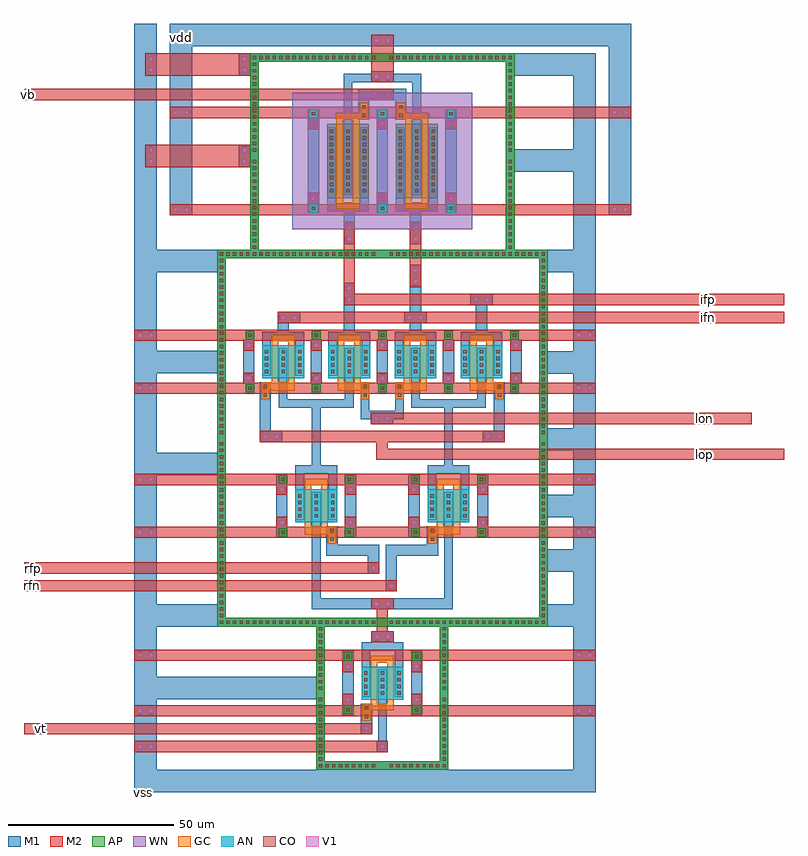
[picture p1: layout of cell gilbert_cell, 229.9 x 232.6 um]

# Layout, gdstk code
import gdstk
lib = gdstk.Library(unit=1e-6, precision=1e-09)
def R(c, l, rs):  # rectangles x0, y0, x1, y1
    for r in rs: c.add(gdstk.rectangle(r[:2], r[2:], *l))
def A(c, l, x, y, w, h, nx, ny, dx, dy):  # array of equal rectangles
    R(c, l, [(x+i*dx, y+j*dy, x+i*dx+w, y+j*dy+h) for i in range(nx) for j in range(ny)])
def P(c, l, *ps):  # polygons
    for p in ps: c.add(gdstk.Polygon(p, *l))
AP = (3, 1)
AN = (3, 2)
GC = (8, 1)
CO = (11, 0)
M1 = (13, 0)
V1 = (19, 0)
M2 = (20, 0)
WN = (140, 0)

via_1 = lib.new_cell('via_1')
R(via_1, M1, [(-1.7,-1.7,1.7,1.7)])
R(via_1, V1, [(-0.7,-0.7,0.7,0.7)])
R(via_1, M2, [(-1.7,-1.7,1.7,1.7)])

fet_p = lib.new_cell('fet_p')
R(fet_p, AP, [(-6.3,-11.3,6.3,11.3)])
A(fet_p, CO, -5.5, -9.5, 1, 1, 3, 10, 5, 2)
A(fet_p, M1, -6.3, -10.3, 2.6, 20.6, 3, 1, 5, 0)
fet_p.add(gdstk.FlexPath([(2.5,-12.5),(2.5,12.5)], 2, ends="flush", simple_path=True, layer=8, datatype=1))  # GC
fet_p.add(gdstk.FlexPath([(-2.5,-12.5),(-2.5,12.5)], 2, ends="flush", simple_path=True, layer=8, datatype=1))  # GC

cont_n = lib.new_cell('cont_n')
R(cont_n, AN, [(-1.3,-1.3,1.3,1.3)])
R(cont_n, CO, [(-0.5,-0.5,0.5,0.5)])
R(cont_n, M1, [(-1.3,-1.3,1.3,1.3)])

pfet45u2u = lib.new_cell('pfet45u2u')
R(pfet45u2u, WN, [(-16.8,-20.6,16.8,20.6)])
pfet45u2u.add(gdstk.FlexPath([(-10.4,-15.6),(-10.4,15.6)], 3.4, ends="flush", simple_path=True, layer=13, datatype=0))  # M1
pfet45u2u.add(gdstk.FlexPath([(10.4,-15.6),(10.4,15.6)], 3.4, ends="flush", simple_path=True, layer=13, datatype=0))  # M1
pfet45u2u.add(gdstk.FlexPath([(-3.5,13.5),(3.5,13.5)], 2, ends="flush", simple_path=True, layer=8, datatype=1))  # GC
pfet45u2u.add(gdstk.FlexPath([(-3.5,-13.5),(3.5,-13.5)], 2, ends="flush", simple_path=True, layer=8, datatype=1))  # GC
pfet45u2u.add(gdstk.FlexPath([(-12.1,14.7),(12.1,14.7)], 3.4, ends="flush", simple_path=True, layer=20, datatype=0))  # M2
pfet45u2u.add(gdstk.FlexPath([(-12.1,-14.7),(12.1,-14.7)], 3.4, ends="flush", simple_path=True, layer=20, datatype=0))  # M2
pfet45u2u.add(gdstk.Reference(via_1, (-10.4,11.3)))
pfet45u2u.add(gdstk.Reference(fet_p, (0,0)))
pfet45u2u.add(gdstk.Reference(cont_n, (-10.4,-14.3)))
pfet45u2u.add(gdstk.Reference(cont_n, (-10.4,14.3)))
pfet45u2u.add(gdstk.Reference(cont_n, (10.4,-14.3)))
pfet45u2u.add(gdstk.Reference(cont_n, (10.4,14.3)))
pfet45u2u.add(gdstk.Reference(via_1, (-10.4,-11.3)))
pfet45u2u.add(gdstk.Reference(via_1, (10.4,-11.3)))
pfet45u2u.add(gdstk.Reference(via_1, (10.4,11.3)))

cont_p = lib.new_cell('cont_p')
R(cont_p, AP, [(-1.3,-1.3,1.3,1.3)])
R(cont_p, CO, [(-0.5,-0.5,0.5,0.5)])
R(cont_p, M1, [(-1.3,-1.3,1.3,1.3)])

fet_n = lib.new_cell('fet_n')
R(fet_n, AN, [(-6.3,-5,6.3,5)])
A(fet_n, CO, -5.5, -3.5, 1, 1, 3, 4, 5, 2)
A(fet_n, M1, -6.3, -4.3, 2.6, 8.6, 3, 1, 5, 0)
fet_n.add(gdstk.FlexPath([(2.5,-6.2),(2.5,6.2)], 2, ends="flush", simple_path=True, layer=8, datatype=1))  # GC
fet_n.add(gdstk.FlexPath([(-2.5,-6.2),(-2.5,6.2)], 2, ends="flush", simple_path=True, layer=8, datatype=1))  # GC

nfet20u2u = lib.new_cell('nfet20u2u')
nfet20u2u.add(gdstk.FlexPath([(10.4,9.7),(10.4,-9.7)], 3.4, ends="flush", simple_path=True, layer=13, datatype=0))  # M1
nfet20u2u.add(gdstk.FlexPath([(-10.4,9.7),(-10.4,-9.7)], 3.4, ends="flush", simple_path=True, layer=13, datatype=0))  # M1
nfet20u2u.add(gdstk.FlexPath([(-3.5,-7.2),(3.5,-7.2)], 2, ends="flush", simple_path=True, layer=8, datatype=1))  # GC
nfet20u2u.add(gdstk.FlexPath([(-3.5,7.2),(3.5,7.2),(3.5,7.2),(3.5,7.2)], 2, ends="flush", simple_path=True, layer=8, datatype=1))  # GC
nfet20u2u.add(gdstk.FlexPath([(-12.1,8.4),(12.1,8.4)], 3.4, ends="flush", simple_path=True, layer=20, datatype=0))  # M2
nfet20u2u.add(gdstk.FlexPath([(-12.1,-8.4),(12.1,-8.4)], 3.4, ends="flush", simple_path=True, layer=20, datatype=0))  # M2
nfet20u2u.add(gdstk.Reference(via_1, (10.4,5)))
nfet20u2u.add(gdstk.Reference(via_1, (10.4,-5)))
nfet20u2u.add(gdstk.Reference(via_1, (-10.4,-5)))
nfet20u2u.add(gdstk.Reference(via_1, (-10.4,5)))
nfet20u2u.add(gdstk.Reference(cont_p, (-10.4,-8)))
nfet20u2u.add(gdstk.Reference(cont_p, (10.4,-8)))
nfet20u2u.add(gdstk.Reference(cont_p, (-10.4,8)))
nfet20u2u.add(gdstk.Reference(cont_p, (10.4,8)))
nfet20u2u.add(gdstk.Reference(fet_n, (0,0)))

cont_p_1 = lib.new_cell('cont_p$1')
P(cont_p_1, AP, [(-40,-31),(-40,28.4),(-37.4,28.4),(-37.4,-28.4),(37.4,-28.4),(37.4,28.4),(-40,28.4),(-40,31),(40,31),(40,-31)])
A(cont_p_1, CO, -39.2, -30.2, 1, 1, 1, 15, 0, 2)
A(cont_p_1, CO, -39.2, -30.2, 1, 1, 19, 2, 2, 59.4)
A(cont_p_1, CO, 2.2, -30.2, 1, 1, 19, 2, 2, 59.4)
A(cont_p_1, CO, 38.2, -30.2, 1, 1, 1, 15, 0, 2)
A(cont_p_1, CO, -39.2, 1.2, 1, 1, 1, 15, 0, 2)
A(cont_p_1, CO, 38.2, 1.2, 1, 1, 1, 15, 0, 2)
P(cont_p_1, M1, [(-40,-31),(-40,28.4),(-37.4,28.4),(-37.4,-28.4),(37.4,-28.4),(37.4,28.4),(-40,28.4),(-40,31),(40,31),(40,-31)])

cont_p_2 = lib.new_cell('cont_p$2')
P(cont_p_2, AP, [(-50,-57),(-50,54.4),(-47.4,54.4),(-47.4,-54.4),(47.4,-54.4),(47.4,54.4),(-50,54.4),(-50,57),(50,57),(50,-57)])
A(cont_p_2, CO, -49.2, -56.2, 1, 1, 1, 28, 0, 2)
A(cont_p_2, CO, -49.2, -56.2, 1, 1, 24, 2, 2, 111.4)
A(cont_p_2, CO, 2.2, -56.2, 1, 1, 24, 2, 2, 111.4)
A(cont_p_2, CO, 48.2, -56.2, 1, 1, 1, 28, 0, 2)
A(cont_p_2, CO, -49.2, 1.2, 1, 1, 1, 28, 0, 2)
A(cont_p_2, CO, 48.2, 1.2, 1, 1, 1, 28, 0, 2)
P(cont_p_2, M1, [(-50,-57),(-50,54.4),(-47.4,54.4),(-47.4,-54.4),(47.4,-54.4),(47.4,54.4),(-50,54.4),(-50,57),(50,57),(50,-57)])

cont_p_4 = lib.new_cell('cont_p$4')
P(cont_p_4, AP, [(-20,-23),(-20,20.4),(-17.4,20.4),(-17.4,-20.4),(17.4,-20.4),(17.4,20.4),(-20,20.4),(-20,23),(20,23),(20,-23)])
A(cont_p_4, CO, -19.2, -22.2, 1, 1, 1, 11, 0, 2)
A(cont_p_4, CO, -19.2, -22.2, 1, 1, 9, 2, 2, 43.4)
A(cont_p_4, CO, 2.2, -22.2, 1, 1, 9, 2, 2, 43.4)
A(cont_p_4, CO, 18.2, -22.2, 1, 1, 1, 11, 0, 2)
A(cont_p_4, CO, -19.2, 1.2, 1, 1, 1, 11, 0, 2)
A(cont_p_4, CO, 18.2, 1.2, 1, 1, 1, 11, 0, 2)
P(cont_p_4, M1, [(-20,-23),(-20,20.4),(-17.4,20.4),(-17.4,-20.4),(17.4,-20.4),(17.4,20.4),(-20,20.4),(-20,23),(20,23),(20,-23)])

cont_g = lib.new_cell('cont_g')
R(cont_g, GC, [(-1.3,-1.3,1.3,1.3)])
R(cont_g, CO, [(-0.5,-0.5,0.5,0.5)])
R(cont_g, M1, [(-1.3,-1.3,1.3,1.3)])

cont_g_1 = lib.new_cell('cont_g$1')
R(cont_g_1, GC, [(-1.3,-1.3,1.3,1.3)])
R(cont_g_1, CO, [(-0.5,-0.5,0.5,0.5)])
R(cont_g_1, M1, [(-1.3,-1.3,1.3,1.3)])

gilbert_cell = lib.new_cell('gilbert_cell')
gilbert_cell.add(gdstk.FlexPath([(-841.7,1322.6),(-841.7,1326.1)], 3.4, ends="flush", simple_path=True, layer=13, datatype=0))  # M1
gilbert_cell.add(gdstk.FlexPath([(-892.6,1328.5),(-892.6,1383.1)], 6.8, ends="flush", simple_path=True, layer=13, datatype=0))  # M1
gilbert_cell.add(gdstk.FlexPath([(-842.1,1351.8),(-842.1,1366.6),(-821.3,1366.6),(-821.3,1351.8)], 2.6, ends="flush", simple_path=True, layer=13, datatype=0))  # M1
gilbert_cell.add(gdstk.FlexPath([(-837.3,1354),(-837.3,1361.6),(-826.1,1361.6),(-826.1,1354)], 3.4, ends="flush", simple_path=True, layer=13, datatype=0))  # M1
gilbert_cell.add(gdstk.FlexPath([(-847.1,1331.2),(-847.1,1327.4),(-837.1,1327.4),(-837.1,1331.2),(-837.1,1331.2),(-837.1,1331.2)], 2.6, ends="flush", simple_path=True, layer=13, datatype=0))  # M1
gilbert_cell.add(gdstk.FlexPath([(-826.3,1331.2),(-826.3,1327.4),(-816.3,1327.4),(-816.3,1331.2)], 2.6, ends="flush", simple_path=True, layer=13, datatype=0))  # M1
gilbert_cell.add(gdstk.FlexPath([(-821.7,1295.9),(-821.7,1303.3)], 3.4, ends="flush", simple_path=True, layer=13, datatype=0))  # M1
gilbert_cell.add(gdstk.FlexPath([(-821.7,1323.1),(-821.7,1326.1)], 3.4, ends="flush", simple_path=True, layer=13, datatype=0))  # M1
gilbert_cell.add(gdstk.FlexPath([(-851.7,1232.9),(-851.7,1205.9)], 2.6, ends="flush", simple_path=True, layer=13, datatype=0))  # M1
gilbert_cell.add(gdstk.FlexPath([(-835.1,1207.6),(-850.4,1207.6)], 3.4, ends="flush", simple_path=True, layer=13, datatype=0))  # M1
gilbert_cell.add(gdstk.FlexPath([(-811.7,1232.9),(-811.7,1205.9)], 2.6, ends="flush", simple_path=True, layer=13, datatype=0))  # M1
gilbert_cell.add(gdstk.FlexPath([(-828.3,1207.6),(-813,1207.6)], 3.4, ends="flush", simple_path=True, layer=13, datatype=0))  # M1
gilbert_cell.add(gdstk.FlexPath([(-903.4,1287.1),(-903.4,1150.5)], 6.8, ends="flush", simple_path=True, layer=13, datatype=0))  # M1
gilbert_cell.add(gdstk.FlexPath([(-831.7,1166.1),(-831.7,1179.3)], 2.6, ends="flush", simple_path=True, layer=13, datatype=0))  # M1
gilbert_cell.add(gdstk.FlexPath([(-836.5,1171.5),(-836.5,1177.4)], 3.4, ends="flush", simple_path=True, layer=13, datatype=0))  # M1
gilbert_cell.add(gdstk.FlexPath([(-836.7,1187.9),(-836.7,1194.6),(-826.7,1194.6),(-826.7,1187.9)], 2.6, ends="flush", simple_path=True, layer=13, datatype=0))  # M1
gilbert_cell.add(gdstk.FlexPath([(-759.8,1328.5),(-759.8,1379.7),(-889.2,1379.7)], 6.8, ends="flush", simple_path=True, layer=13, datatype=0))  # M1
gilbert_cell.add(gdstk.FlexPath([(-770.6,1367.6),(-770.6,1370.7),(-791.7,1370.7)], 6.8, ends="flush", simple_path=True, layer=13, datatype=0))  # M1
gilbert_cell.add(gdstk.FlexPath([(-774,1341.7),(-791.7,1341.7)], 6.8, ends="flush", simple_path=True, layer=13, datatype=0))  # M1
gilbert_cell.add(gdstk.FlexPath([(-774,1311.3),(-781.7,1311.3)], 6.8, ends="flush", simple_path=True, layer=13, datatype=0))  # M1
gilbert_cell.add(gdstk.FlexPath([(-774,1280.6),(-781.7,1280.6)], 6.8, ends="flush", simple_path=True, layer=13, datatype=0))  # M1
gilbert_cell.add(gdstk.FlexPath([(-774,1257.3),(-781.7,1257.3)], 6.8, ends="flush", simple_path=True, layer=13, datatype=0))  # M1
gilbert_cell.add(gdstk.FlexPath([(-774,1220.7),(-781.7,1220.7)], 6.8, ends="flush", simple_path=True, layer=13, datatype=0))  # M1
gilbert_cell.add(gdstk.FlexPath([(-774,1204.1),(-781.7,1204.1)], 6.8, ends="flush", simple_path=True, layer=13, datatype=0))  # M1
gilbert_cell.add(gdstk.FlexPath([(-903.4,1360.6),(-903.4,1383)], 6.8, ends="flush", simple_path=True, layer=13, datatype=0))  # M1
gilbert_cell.add(gdstk.FlexPath([(-774,1153.9),(-900,1153.9)], 6.8, ends="flush", simple_path=True, layer=13, datatype=0))  # M1
gilbert_cell.add(gdstk.FlexPath([(-774,1237.2),(-781.7,1237.2)], 6.8, ends="flush", simple_path=True, layer=13, datatype=0))  # M1
gilbert_cell.add(gdstk.FlexPath([(-900,1311.3),(-881.7,1311.3)], 6.8, ends="flush", simple_path=True, layer=13, datatype=0))  # M1
gilbert_cell.add(gdstk.FlexPath([(-900,1280.7),(-881.7,1280.7)], 6.8, ends="flush", simple_path=True, layer=13, datatype=0))  # M1
gilbert_cell.add(gdstk.FlexPath([(-900,1249.8),(-881.7,1249.8)], 6.8, ends="flush", simple_path=True, layer=13, datatype=0))  # M1
gilbert_cell.add(gdstk.FlexPath([(-900,1204.1),(-881.7,1204.1)], 6.8, ends="flush", simple_path=True, layer=13, datatype=0))  # M1
gilbert_cell.add(gdstk.FlexPath([(-900,1182.1),(-851.7,1182.1)], 6.8, ends="flush", simple_path=True, layer=13, datatype=0))  # M1
gilbert_cell.add(gdstk.FlexPath([(-770.6,1367.6),(-770.6,1150.5)], 6.8, ends="flush", simple_path=True, layer=13, datatype=0))  # M1
gilbert_cell.add(gdstk.FlexPath([(-829,1214.7),(-829,1225.5)], 3.4, ends="flush", simple_path=True, layer=13, datatype=0))  # M1
gilbert_cell.add(gdstk.FlexPath([(-801.7,1297.9),(-801.7,1289.9)], 3.4, ends="flush", simple_path=True, layer=13, datatype=0))  # M1
gilbert_cell.add(gdstk.FlexPath([(-841.7,1297.9),(-841.7,1289.9)], 3.4, ends="flush", simple_path=True, layer=13, datatype=0))  # M1
gilbert_cell.add(gdstk.FlexPath([(-811.7,1247.9),(-811.7,1266.9)], 2.6, ends="flush", simple_path=True, layer=13, datatype=0))  # M1
gilbert_cell.add(gdstk.FlexPath([(-821.7,1276.5),(-821.7,1268.2),(-801.7,1268.2),(-801.7,1276.5)], 2.6, ends="flush", simple_path=True, layer=13, datatype=0))  # M1
gilbert_cell.add(gdstk.FlexPath([(-861.7,1276.5),(-861.7,1268.2),(-841.7,1268.2),(-841.7,1276.5),(-841.7,1276.5)], 2.6, ends="flush", simple_path=True, layer=13, datatype=0))  # M1
gilbert_cell.add(gdstk.FlexPath([(-851.7,1247.9),(-851.7,1266.9)], 2.6, ends="flush", simple_path=True, layer=13, datatype=0))  # M1
gilbert_cell.add(gdstk.FlexPath([(-796.3,1259.9),(-796.3,1274.6)], 3.4, ends="flush", simple_path=True, layer=13, datatype=0))  # M1
gilbert_cell.add(gdstk.FlexPath([(-867.1,1259.9),(-867.1,1274.6),(-867.1,1274.6)], 3.4, ends="flush", simple_path=True, layer=13, datatype=0))  # M1
gilbert_cell.add(gdstk.FlexPath([(-801.3,1246.9),(-801.3,1227.5)], 3.4, ends="flush", simple_path=True, layer=13, datatype=0))  # M1
gilbert_cell.add(gdstk.FlexPath([(-822.1,1246.9),(-822.1,1227.5)], 3.4, ends="flush", simple_path=True, layer=13, datatype=0))  # M1
gilbert_cell.add(gdstk.FlexPath([(-841.3,1246.9),(-841.3,1227.5)], 3.4, ends="flush", simple_path=True, layer=13, datatype=0))  # M1
gilbert_cell.add(gdstk.FlexPath([(-856.7,1241.5),(-856.7,1248.2),(-846.7,1248.2),(-846.7,1241.5)], 2.6, ends="flush", simple_path=True, layer=13, datatype=0))  # M1
gilbert_cell.add(gdstk.FlexPath([(-862.1,1246.9),(-862.1,1227.5)], 3.4, ends="flush", simple_path=True, layer=13, datatype=0))  # M1
gilbert_cell.add(gdstk.FlexPath([(-846.9,1222.1),(-846.9,1231)], 3.4, ends="flush", simple_path=True, layer=13, datatype=0))  # M1
gilbert_cell.add(gdstk.FlexPath([(-816.7,1241.5),(-816.7,1248.2),(-806.7,1248.2),(-806.7,1241.5)], 2.6, ends="flush", simple_path=True, layer=13, datatype=0))  # M1
gilbert_cell.add(gdstk.FlexPath([(-848.6,1223.8),(-832.7,1223.8)], 3.4, ends="flush", simple_path=True, layer=13, datatype=0))  # M1
gilbert_cell.add(gdstk.FlexPath([(-830.7,1223.8),(-814.8,1223.8)], 3.4, ends="flush", simple_path=True, layer=13, datatype=0))  # M1
gilbert_cell.add(gdstk.FlexPath([(-834.4,1225.5),(-834.4,1216.7)], 3.4, ends="flush", simple_path=True, layer=13, datatype=0))  # M1
gilbert_cell.add(gdstk.FlexPath([(-816.5,1222.1),(-816.5,1231)], 3.4, ends="flush", simple_path=True, layer=13, datatype=0))  # M1
gilbert_cell.add(gdstk.FlexPath([(-821.7,1295.7),(-821.7,1289.9)], 3.4, ends="flush", simple_path=True, layer=13, datatype=0))  # M1
gilbert_cell.add(gdstk.FlexPath([(-861.7,1295.7),(-861.7,1289.9)], 3.4, ends="flush", simple_path=True, layer=13, datatype=0))  # M1
gilbert_cell.add(gdstk.FlexPath([(-836.9,1269.4),(-836.9,1264.7),(-826.5,1264.7),(-826.5,1269.4)], 2.6, ends="flush", simple_path=True, layer=13, datatype=0))  # M1
gilbert_cell.add(gdstk.FlexPath([(-846.7,1285.1),(-846.7,1288.6),(-836.7,1288.6),(-836.7,1285.1)], 2.6, ends="flush", simple_path=True, layer=13, datatype=0))  # M1
gilbert_cell.add(gdstk.FlexPath([(-806.7,1285.1),(-806.7,1288.6),(-796.7,1288.6),(-796.7,1285.1)], 2.6, ends="flush", simple_path=True, layer=13, datatype=0))  # M1
gilbert_cell.add(gdstk.FlexPath([(-826.7,1285.1),(-826.7,1288.6),(-816.7,1288.6),(-816.7,1285.1)], 2.6, ends="flush", simple_path=True, layer=13, datatype=0))  # M1
gilbert_cell.add(gdstk.FlexPath([(-866.7,1285.1),(-866.7,1288.6),(-856.7,1288.6),(-856.7,1285.1)], 2.6, ends="flush", simple_path=True, layer=13, datatype=0))  # M1
gilbert_cell.add(gdstk.FlexPath([(-872.1,1277.5),(-872.1,1284.1)], 3.4, ends="flush", simple_path=True, layer=13, datatype=0))  # M1
gilbert_cell.add(gdstk.FlexPath([(-791.3,1277.5),(-791.3,1284.1)], 3.4, ends="flush", simple_path=True, layer=13, datatype=0))  # M1
gilbert_cell.add(gdstk.FlexPath([(-811.7,1277.5),(-811.7,1284.1)], 3.4, ends="flush", simple_path=True, layer=13, datatype=0))  # M1
gilbert_cell.add(gdstk.FlexPath([(-831.7,1277.5),(-831.7,1284.1)], 3.4, ends="flush", simple_path=True, layer=13, datatype=0))  # M1
gilbert_cell.add(gdstk.FlexPath([(-851.7,1277.5),(-851.7,1284.1)], 3.4, ends="flush", simple_path=True, layer=13, datatype=0))  # M1
gilbert_cell.add(gdstk.FlexPath([(-903.4,1290.5),(-903.4,1360.6)], 6.8, ends="flush", simple_path=True, layer=13, datatype=0))  # M1
gilbert_cell.add(gdstk.FlexPath([(-815.2,1229.7),(-808.2,1229.7)], 2.6, ends="flush", simple_path=True, layer=8, datatype=1))  # GC
gilbert_cell.add(gdstk.FlexPath([(-815.2,1244.4),(-808.2,1244.4)], 2, ends="flush", simple_path=True, layer=8, datatype=1))  # GC
gilbert_cell.add(gdstk.FlexPath([(-855.2,1244.4),(-848.2,1244.4)], 2, ends="flush", simple_path=True, layer=8, datatype=1))  # GC
gilbert_cell.add(gdstk.FlexPath([(-848.2,1229.7),(-855.2,1229.7)], 2.6, ends="flush", simple_path=True, layer=8, datatype=1))  # GC
gilbert_cell.add(gdstk.FlexPath([(-825.2,1288),(-818.2,1288)], 2, ends="flush", simple_path=True, layer=8, datatype=1))  # GC
gilbert_cell.add(gdstk.FlexPath([(-805.2,1288),(-798.2,1288)], 2, ends="flush", simple_path=True, layer=8, datatype=1))  # GC
gilbert_cell.add(gdstk.FlexPath([(-797.6,1273.3),(-805.2,1273.3)], 2.6, ends="flush", simple_path=True, layer=8, datatype=1))  # GC
gilbert_cell.add(gdstk.FlexPath([(-838.2,1273.3),(-845.2,1273.3)], 2.6, ends="flush", simple_path=True, layer=8, datatype=1))  # GC
gilbert_cell.add(gdstk.FlexPath([(-825.2,1273.3),(-818.2,1273.3)], 2.6, ends="flush", simple_path=True, layer=8, datatype=1))  # GC
gilbert_cell.add(gdstk.FlexPath([(-865.8,1273.3),(-858.2,1273.3)], 2.6, ends="flush", simple_path=True, layer=8, datatype=1))  # GC
gilbert_cell.add(gdstk.FlexPath([(-845.2,1288),(-838.2,1288)], 2, ends="flush", simple_path=True, layer=8, datatype=1))  # GC
gilbert_cell.add(gdstk.FlexPath([(-865.2,1288),(-858.2,1288)], 2, ends="flush", simple_path=True, layer=8, datatype=1))  # GC
gilbert_cell.add(gdstk.FlexPath([(-840,1299.6),(-805.1,1299.6)], 3.4, ends="flush", simple_path=True, layer=20, datatype=0))  # M2
gilbert_cell.add(gdstk.FlexPath([(-841.7,1304.7),(-841.7,1316.3)], 3.4, ends="flush", simple_path=True, layer=20, datatype=0))  # M2
gilbert_cell.add(gdstk.FlexPath([(-888.8,1361.6),(-939.9,1361.6)], 3.4, ends="flush", simple_path=True, layer=20, datatype=0))  # M2
gilbert_cell.add(gdstk.FlexPath([(-809.2,1356.2),(-763.2,1356.2)], 3.4, ends="flush", simple_path=True, layer=20, datatype=0))  # M2
gilbert_cell.add(gdstk.FlexPath([(-809.2,1326.8),(-763.2,1326.8)], 3.4, ends="flush", simple_path=True, layer=20, datatype=0))  # M2
gilbert_cell.add(gdstk.FlexPath([(-879.2,1326.8),(-889.2,1326.8)], 3.4, ends="flush", simple_path=True, layer=20, datatype=0))  # M2
gilbert_cell.add(gdstk.FlexPath([(-879.2,1356.2),(-889.2,1356.2)], 3.4, ends="flush", simple_path=True, layer=20, datatype=0))  # M2
gilbert_cell.add(gdstk.FlexPath([(-878.8,1361.6),(-888.8,1361.6)], 3.4, ends="flush", simple_path=True, layer=20, datatype=0))  # M2
gilbert_cell.add(gdstk.FlexPath([(-831.7,1368.7),(-831.7,1376.3)], 6.8, ends="flush", simple_path=True, layer=20, datatype=0))  # M2
gilbert_cell.add(gdstk.FlexPath([(-900,1343.1),(-875.1,1343.1)], 6.8, ends="flush", simple_path=True, layer=20, datatype=0))  # M2
gilbert_cell.add(gdstk.FlexPath([(-879.2,1326.8),(-854.2,1326.8)], 3.4, ends="flush", simple_path=True, layer=20, datatype=0))  # M2
gilbert_cell.add(gdstk.FlexPath([(-879.2,1356.2),(-854.2,1356.2)], 3.4, ends="flush", simple_path=True, layer=20, datatype=0))  # M2
gilbert_cell.add(gdstk.FlexPath([(-835.1,1361.6),(-878.8,1361.6)], 3.4, ends="flush", simple_path=True, layer=20, datatype=0))  # M2
gilbert_cell.add(gdstk.FlexPath([(-821.7,1310.1),(-821.7,1316.3)], 3.4, ends="flush", simple_path=True, layer=20, datatype=0))  # M2
gilbert_cell.add(gdstk.FlexPath([(-900,1192),(-890,1192)], 3.4, ends="flush", simple_path=True, layer=20, datatype=0))  # M2
gilbert_cell.add(gdstk.FlexPath([(-900,1175.2),(-890,1175.2)], 3.4, ends="flush", simple_path=True, layer=20, datatype=0))  # M2
gilbert_cell.add(gdstk.FlexPath([(-777.2,1175.2),(-774,1175.2)], 3.4, ends="flush", simple_path=True, layer=20, datatype=0))  # M2
gilbert_cell.add(gdstk.FlexPath([(-777.2,1192),(-774,1192)], 3.4, ends="flush", simple_path=True, layer=20, datatype=0))  # M2
gilbert_cell.add(gdstk.FlexPath([(-843.8,1192),(-890,1192)], 3.4, ends="flush", simple_path=True, layer=20, datatype=0))  # M2
gilbert_cell.add(gdstk.FlexPath([(-843.8,1175.2),(-890,1175.2)], 3.4, ends="flush", simple_path=True, layer=20, datatype=0))  # M2
gilbert_cell.add(gdstk.FlexPath([(-819.6,1175.2),(-777.2,1175.2)], 3.4, ends="flush", simple_path=True, layer=20, datatype=0))  # M2
gilbert_cell.add(gdstk.FlexPath([(-819.6,1192),(-777.2,1192)], 3.4, ends="flush", simple_path=True, layer=20, datatype=0))  # M2
gilbert_cell.add(gdstk.FlexPath([(-831.7,1199.3),(-831.7,1206.7)], 3.4, ends="flush", simple_path=True, layer=20, datatype=0))  # M2
gilbert_cell.add(gdstk.FlexPath([(-899.9,1169.8),(-916.1,1169.8)], 3.4, ends="flush", simple_path=True, layer=20, datatype=0))  # M2
gilbert_cell.add(gdstk.FlexPath([(-916.1,1169.8),(-940,1169.8)], 3.4, ends="flush", simple_path=True, layer=20, datatype=0))  # M2
gilbert_cell.add(gdstk.FlexPath([(-838.2,1169.8),(-889.9,1169.8)], 3.4, ends="flush", simple_path=True, layer=20, datatype=0))  # M2
gilbert_cell.add(gdstk.FlexPath([(-833.4,1164.4),(-890,1164.4)], 3.4, ends="flush", simple_path=True, layer=20, datatype=0))  # M2
gilbert_cell.add(gdstk.FlexPath([(-900,1164.4),(-890,1164.4)], 3.4, ends="flush", simple_path=True, layer=20, datatype=0))  # M2
gilbert_cell.add(gdstk.FlexPath([(-899.9,1169.8),(-889.9,1169.8)], 3.4, ends="flush", simple_path=True, layer=20, datatype=0))  # M2
gilbert_cell.add(gdstk.FlexPath([(-900,1370.7),(-875.1,1370.7)], 6.8, ends="flush", simple_path=True, layer=20, datatype=0))  # M2
gilbert_cell.add(gdstk.FlexPath([(-900,1218.4),(-940.1,1218.4)], 3.4, ends="flush", simple_path=True, layer=20, datatype=0))  # M2
gilbert_cell.add(gdstk.FlexPath([(-900.1,1213),(-940,1213)], 3.4, ends="flush", simple_path=True, layer=20, datatype=0))  # M2
gilbert_cell.add(gdstk.FlexPath([(-771.9,1299.6),(-710.2,1299.6)], 3.4, ends="flush", simple_path=True, layer=20, datatype=0))  # M2
gilbert_cell.add(gdstk.FlexPath([(-771.9,1294.2),(-710.2,1294.2)], 3.4, ends="flush", simple_path=True, layer=20, datatype=0))  # M2
gilbert_cell.add(gdstk.FlexPath([(-786.8,1263.6),(-720,1263.6)], 3.4, ends="flush", simple_path=True, layer=20, datatype=0))  # M2
gilbert_cell.add(gdstk.FlexPath([(-774,1252.8),(-710.2,1252.8)], 3.4, ends="flush", simple_path=True, layer=20, datatype=0))  # M2
gilbert_cell.add(gdstk.FlexPath([(-772,1288.8),(-767.2,1288.8)], 3.4, ends="flush", simple_path=True, layer=20, datatype=0))  # M2
gilbert_cell.add(gdstk.FlexPath([(-775,1245.2),(-767.2,1245.2)], 3.4, ends="flush", simple_path=True, layer=20, datatype=0))  # M2
gilbert_cell.add(gdstk.FlexPath([(-775,1229.2),(-767.2,1229.2)], 3.4, ends="flush", simple_path=True, layer=20, datatype=0))  # M2
gilbert_cell.add(gdstk.FlexPath([(-890,1272.8),(-782,1272.8)], 3.4, ends="flush", simple_path=True, layer=20, datatype=0))  # M2
gilbert_cell.add(gdstk.FlexPath([(-890,1288.8),(-782,1288.8)], 3.4, ends="flush", simple_path=True, layer=20, datatype=0))  # M2
gilbert_cell.add(gdstk.FlexPath([(-820,1294.2),(-781.9,1294.2)], 3.4, ends="flush", simple_path=True, layer=20, datatype=0))  # M2
gilbert_cell.add(gdstk.FlexPath([(-825.1,1294.2),(-856.6,1294.2)], 3.4, ends="flush", simple_path=True, layer=20, datatype=0))  # M2
gilbert_cell.add(gdstk.FlexPath([(-798.3,1299.6),(-781.9,1299.6)], 3.4, ends="flush", simple_path=True, layer=20, datatype=0))  # M2
gilbert_cell.add(gdstk.FlexPath([(-830.1,1263.6),(-786.8,1263.6)], 3.4, ends="flush", simple_path=True, layer=20, datatype=0))  # M2
gilbert_cell.add(gdstk.FlexPath([(-862,1258.2),(-801.4,1258.2)], 3.4, ends="flush", simple_path=True, layer=20, datatype=0))  # M2
gilbert_cell.add(gdstk.FlexPath([(-828.4,1252.8),(-784,1252.8)], 3.4, ends="flush", simple_path=True, layer=20, datatype=0))  # M2
gilbert_cell.add(gdstk.FlexPath([(-831.8,1256.5),(-831.8,1252.8),(-828.4,1252.8)], 3.4, ends="flush", simple_path=True, layer=20, datatype=0))  # M2
gilbert_cell.add(gdstk.FlexPath([(-890,1229.2),(-785,1229.2)], 3.4, ends="flush", simple_path=True, layer=20, datatype=0))  # M2
gilbert_cell.add(gdstk.FlexPath([(-890,1245.2),(-785,1245.2)], 3.4, ends="flush", simple_path=True, layer=20, datatype=0))  # M2
gilbert_cell.add(gdstk.FlexPath([(-836.1,1218.4),(-890,1218.4)], 3.4, ends="flush", simple_path=True, layer=20, datatype=0))  # M2
gilbert_cell.add(gdstk.FlexPath([(-830.7,1213),(-890.1,1213)], 3.4, ends="flush", simple_path=True, layer=20, datatype=0))  # M2
gilbert_cell.add(gdstk.FlexPath([(-781.9,1299.6),(-771.9,1299.6)], 3.4, ends="flush", simple_path=True, layer=20, datatype=0))  # M2
gilbert_cell.add(gdstk.FlexPath([(-781.9,1294.2),(-771.9,1294.2)], 3.4, ends="flush", simple_path=True, layer=20, datatype=0))  # M2
gilbert_cell.add(gdstk.FlexPath([(-782,1288.8),(-774,1288.8)], 3.4, ends="flush", simple_path=True, layer=20, datatype=0))  # M2
gilbert_cell.add(gdstk.FlexPath([(-782,1272.8),(-774,1272.8)], 3.4, ends="flush", simple_path=True, layer=20, datatype=0))  # M2
gilbert_cell.add(gdstk.FlexPath([(-784,1252.8),(-774,1252.8)], 3.4, ends="flush", simple_path=True, layer=20, datatype=0))  # M2
gilbert_cell.add(gdstk.FlexPath([(-785,1245.2),(-775,1245.2)], 3.4, ends="flush", simple_path=True, layer=20, datatype=0))  # M2
gilbert_cell.add(gdstk.FlexPath([(-785,1229.2),(-775,1229.2)], 3.4, ends="flush", simple_path=True, layer=20, datatype=0))  # M2
gilbert_cell.add(gdstk.FlexPath([(-900.1,1213),(-890.1,1213)], 3.4, ends="flush", simple_path=True, layer=20, datatype=0))  # M2
gilbert_cell.add(gdstk.FlexPath([(-900,1218.4),(-890,1218.4)], 3.4, ends="flush", simple_path=True, layer=20, datatype=0))  # M2
gilbert_cell.add(gdstk.FlexPath([(-900,1229.2),(-890,1229.2)], 3.4, ends="flush", simple_path=True, layer=20, datatype=0))  # M2
gilbert_cell.add(gdstk.FlexPath([(-900,1245.2),(-890,1245.2)], 3.4, ends="flush", simple_path=True, layer=20, datatype=0))  # M2
gilbert_cell.add(gdstk.FlexPath([(-900,1272.8),(-890,1272.8)], 3.4, ends="flush", simple_path=True, layer=20, datatype=0))  # M2
gilbert_cell.add(gdstk.FlexPath([(-900,1288.8),(-890,1288.8)], 3.4, ends="flush", simple_path=True, layer=20, datatype=0))  # M2
gilbert_cell.add(gdstk.Reference(pfet45u2u, (-821.3,1341.5)))
gilbert_cell.add(gdstk.Reference(via_1, (-830.1,1263.6)))
gilbert_cell.add(gdstk.Reference(cont_p, (-831.7,1288.8)))
gilbert_cell.add(gdstk.Reference(cont_p, (-831.7,1272.8)))
gilbert_cell.add(gdstk.Reference(via_1, (-831.7,1285.8)))
gilbert_cell.add(gdstk.Reference(via_1, (-831.7,1275.8)))
gilbert_cell.add(gdstk.Reference(via_1, (-830,1361.6)))
gilbert_cell.add(gdstk.Reference(via_1, (-830,1367)))
gilbert_cell.add(gdstk.Reference(pfet45u2u, (-842.1,1341.5)))
gilbert_cell.add(gdstk.Reference(via_1, (-830,1378)))
gilbert_cell.add(gdstk.Reference(nfet20u2u, (-831.7,1183.6)))
gilbert_cell.add(gdstk.Reference(via_1, (-830,1207.6)))
gilbert_cell.add(gdstk.Reference(via_1, (-830,1197.6)))
gilbert_cell.add(gdstk.Reference(cont_p_1, (-831.7,1343.1)))
gilbert_cell.add(gdstk.Reference(cont_p_2, (-831.7,1257.7)))
gilbert_cell.add(gdstk.Reference(via_1, (-831.7,1164.4)))
gilbert_cell.add(gdstk.Reference(cont_p_4, (-831.7,1180.3)))
gilbert_cell.add(gdstk.Reference(via_1, (-791.3,1285.8)))
gilbert_cell.add(gdstk.Reference(via_1, (-803.4,1299.6)))
gilbert_cell.add(gdstk.Reference(via_1, (-811.7,1275.8)))
gilbert_cell.add(gdstk.Reference(via_1, (-791.3,1275.8)))
gilbert_cell.add(gdstk.Reference(cont_g, (-796.3,1270.7)))
gilbert_cell.add(gdstk.Reference(cont_g, (-796.3,1273.3)))
gilbert_cell.add(gdstk.Reference(via_1, (-823.4,1294.2)))
gilbert_cell.add(gdstk.Reference(cont_g, (-826.1,1355.3)))
gilbert_cell.add(gdstk.Reference(cont_g, (-826.5,1273.3)))
gilbert_cell.add(gdstk.Reference(via_1, (-800,1299.6)))
gilbert_cell.add(gdstk.Reference(via_1, (-820,1294.2)))
gilbert_cell.add(gdstk.Reference(via_1, (-758.1,1356.2)))
gilbert_cell.add(gdstk.Reference(via_1, (-761.5,1356.2)))
gilbert_cell.add(gdstk.Reference(via_1, (-758.1,1326.8)))
gilbert_cell.add(gdstk.Reference(via_1, (-761.5,1326.8)))
gilbert_cell.add(gdstk.Reference(via_1, (-772.3,1288.8)))
gilbert_cell.add(gdstk.Reference(via_1, (-768.9,1288.8)))
gilbert_cell.add(gdstk.Reference(via_1, (-772.3,1272.8)))
gilbert_cell.add(gdstk.Reference(via_1, (-768.9,1272.8)))
gilbert_cell.add(gdstk.Reference(cont_p, (-791.7,1288.8)))
gilbert_cell.add(gdstk.Reference(via_1, (-821.7,1321.4)))
gilbert_cell.add(gdstk.Reference(via_1, (-821.7,1318)))
gilbert_cell.add(gdstk.Reference(via_1, (-821.7,1308.4)))
gilbert_cell.add(gdstk.Reference(via_1, (-821.7,1305)))
gilbert_cell.add(gdstk.Reference(cont_p, (-811.7,1288.8)))
gilbert_cell.add(gdstk.Reference(fet_n, (-801.7,1280.8)))
gilbert_cell.add(gdstk.Reference(cont_p, (-791.7,1272.8)))
gilbert_cell.add(gdstk.Reference(cont_p, (-811.7,1272.8)))
gilbert_cell.add(gdstk.Reference(cont_g, (-826.5,1270.7)))
gilbert_cell.add(gdstk.Reference(fet_n, (-821.7,1280.8)))
gilbert_cell.add(gdstk.Reference(via_1, (-811.7,1285.8)))
gilbert_cell.add(gdstk.Reference(cont_g_1, (-826.1,1357.9)))
gilbert_cell.add(gdstk.Reference(via_1, (-894.3,1356.2)))
gilbert_cell.add(gdstk.Reference(via_1, (-833.4,1361.6)))
gilbert_cell.add(gdstk.Reference(cont_p, (-871.7,1272.8)))
gilbert_cell.add(gdstk.Reference(via_1, (-872.1,1275.8)))
gilbert_cell.add(gdstk.Reference(via_1, (-833.4,1367)))
gilbert_cell.add(gdstk.Reference(cont_p, (-851.7,1272.8)))
gilbert_cell.add(gdstk.Reference(via_1, (-833.4,1378)))
gilbert_cell.add(gdstk.Reference(fet_n, (-861.7,1280.8)))
gilbert_cell.add(gdstk.Reference(via_1, (-872.1,1285.8)))
gilbert_cell.add(gdstk.Reference(via_1, (-851.7,1285.8)))
gilbert_cell.add(gdstk.Reference(via_1, (-858.3,1294.2)))
gilbert_cell.add(gdstk.Reference(via_1, (-861.7,1294.2)))
gilbert_cell.add(gdstk.Reference(cont_p, (-851.7,1288.8)))
gilbert_cell.add(gdstk.Reference(via_1, (-851.7,1275.8)))
gilbert_cell.add(gdstk.Reference(cont_g, (-867.1,1273.3)))
gilbert_cell.add(gdstk.Reference(cont_g, (-836.9,1270.7)))
gilbert_cell.add(gdstk.Reference(cont_p, (-871.7,1288.8)))
gilbert_cell.add(gdstk.Reference(fet_n, (-841.7,1280.8)))
gilbert_cell.add(gdstk.Reference(via_1, (-841.7,1321.4)))
gilbert_cell.add(gdstk.Reference(via_1, (-841.7,1318)))
gilbert_cell.add(gdstk.Reference(via_1, (-841.7,1303)))
gilbert_cell.add(gdstk.Reference(via_1, (-841.7,1299.6)))
gilbert_cell.add(gdstk.Reference(via_1, (-901.7,1272.8)))
gilbert_cell.add(gdstk.Reference(via_1, (-905.1,1272.8)))
gilbert_cell.add(gdstk.Reference(via_1, (-901.7,1288.8)))
gilbert_cell.add(gdstk.Reference(via_1, (-905.1,1288.8)))
gilbert_cell.add(gdstk.Reference(cont_g, (-867.1,1270.7)))
gilbert_cell.add(gdstk.Reference(cont_g, (-837.3,1355.3)))
gilbert_cell.add(gdstk.Reference(cont_g, (-836.9,1273.3)))
gilbert_cell.add(gdstk.Reference(via_1, (-890.9,1326.8)))
gilbert_cell.add(gdstk.Reference(via_1, (-894.3,1326.8)))
gilbert_cell.add(gdstk.Reference(via_1, (-901.7,1341.4)))
gilbert_cell.add(gdstk.Reference(via_1, (-901.7,1344.8)))
gilbert_cell.add(gdstk.Reference(via_1, (-873.4,1341.4)))
gilbert_cell.add(gdstk.Reference(via_1, (-873.4,1344.8)))
gilbert_cell.add(gdstk.Reference(via_1, (-901.7,1369)))
gilbert_cell.add(gdstk.Reference(via_1, (-901.7,1372.4)))
gilbert_cell.add(gdstk.Reference(via_1, (-873.4,1369)))
gilbert_cell.add(gdstk.Reference(via_1, (-873.4,1372.4)))
gilbert_cell.add(gdstk.Reference(cont_g_1, (-837.3,1357.9)))
gilbert_cell.add(gdstk.Reference(via_1, (-890.9,1356.2)))
gilbert_cell.add(gdstk.Reference(via_1, (-862.1,1242.2)))
gilbert_cell.add(gdstk.Reference(cont_g, (-836.5,1176.1)))
gilbert_cell.add(gdstk.Reference(via_1, (-905.1,1192)))
gilbert_cell.add(gdstk.Reference(via_1, (-901.7,1192)))
gilbert_cell.add(gdstk.Reference(via_1, (-905.1,1175.2)))
gilbert_cell.add(gdstk.Reference(via_1, (-901.7,1175.2)))
gilbert_cell.add(gdstk.Reference(via_1, (-862.1,1232.2)))
gilbert_cell.add(gdstk.Reference(via_1, (-833.4,1207.6)))
gilbert_cell.add(gdstk.Reference(via_1, (-841.3,1232.2)))
gilbert_cell.add(gdstk.Reference(via_1, (-833.4,1197.6)))
gilbert_cell.add(gdstk.Reference(via_1, (-841.3,1242.2)))
gilbert_cell.add(gdstk.Reference(via_1, (-834.4,1218.4)))
gilbert_cell.add(gdstk.Reference(via_1, (-863.7,1258.2)))
gilbert_cell.add(gdstk.Reference(via_1, (-901.7,1229.2)))
gilbert_cell.add(gdstk.Reference(via_1, (-836.5,1169.8)))
gilbert_cell.add(gdstk.Reference(via_1, (-901.7,1164.4)))
gilbert_cell.add(gdstk.Reference(via_1, (-905.1,1164.4)))
gilbert_cell.add(gdstk.Reference(via_1, (-901.7,1245.2)))
gilbert_cell.add(gdstk.Reference(via_1, (-867.1,1258.2)))
gilbert_cell.add(gdstk.Reference(via_1, (-905.1,1229.2)))
gilbert_cell.add(gdstk.Reference(via_1, (-905.1,1245.2)))
gilbert_cell.add(gdstk.Reference(fet_n, (-851.7,1237.2)))
gilbert_cell.add(gdstk.Reference(cont_p, (-841.7,1245.2)))
gilbert_cell.add(gdstk.Reference(via_1, (-833.5,1263.6)))
gilbert_cell.add(gdstk.Reference(cont_p, (-861.7,1245.2)))
gilbert_cell.add(gdstk.Reference(cont_p, (-841.7,1229.2)))
gilbert_cell.add(gdstk.Reference(cont_g_1, (-836.5,1173.5)))
gilbert_cell.add(gdstk.Reference(cont_g_1, (-846.9,1227.1)))
gilbert_cell.add(gdstk.Reference(cont_p, (-861.7,1229.2)))
gilbert_cell.add(gdstk.Reference(cont_g, (-846.9,1229.7)))
gilbert_cell.add(gdstk.Reference(cont_p, (-801.7,1229.2)))
gilbert_cell.add(gdstk.Reference(cont_p, (-821.7,1229.2)))
gilbert_cell.add(gdstk.Reference(via_1, (-799.7,1258.2)))
gilbert_cell.add(gdstk.Reference(cont_g, (-816.5,1229.7)))
gilbert_cell.add(gdstk.Reference(via_1, (-796.3,1258.2)))
gilbert_cell.add(gdstk.Reference(fet_n, (-811.7,1237.2)))
gilbert_cell.add(gdstk.Reference(cont_p, (-801.7,1245.2)))
gilbert_cell.add(gdstk.Reference(cont_p, (-821.7,1245.2)))
gilbert_cell.add(gdstk.Reference(via_1, (-822.1,1242.2)))
gilbert_cell.add(gdstk.Reference(via_1, (-768.9,1192)))
gilbert_cell.add(gdstk.Reference(via_1, (-772.3,1192)))
gilbert_cell.add(gdstk.Reference(via_1, (-768.9,1175.2)))
gilbert_cell.add(gdstk.Reference(via_1, (-772.3,1175.2)))
gilbert_cell.add(gdstk.Reference(via_1, (-822.1,1232.2)))
gilbert_cell.add(gdstk.Reference(via_1, (-801.3,1232.2)))
gilbert_cell.add(gdstk.Reference(via_1, (-801.3,1242.2)))
gilbert_cell.add(gdstk.Reference(via_1, (-772.3,1245.2)))
gilbert_cell.add(gdstk.Reference(via_1, (-768.9,1245.2)))
gilbert_cell.add(gdstk.Reference(via_1, (-772.3,1229.2)))
gilbert_cell.add(gdstk.Reference(cont_g_1, (-816.5,1227.1)))
gilbert_cell.add(gdstk.Reference(via_1, (-768.9,1229.2)))
gilbert_cell.add(gdstk.Reference(via_1, (-829,1213)))
gilbert_cell.add(gdstk.Label('vdd', (-892.6,1379), layer=48, texttype=0))
gilbert_cell.add(gdstk.Label('vss', (-904.1,1150.4), layer=48, texttype=0))
gilbert_cell.add(gdstk.Label('vb', (-938.7,1361.6), layer=49, texttype=0))
gilbert_cell.add(gdstk.Label('vt', (-935.2,1169.8), layer=49, texttype=0))
gilbert_cell.add(gdstk.Label('rfp', (-937.2,1218.4), layer=49, texttype=0))
gilbert_cell.add(gdstk.Label('lop', (-734.4,1252.8), layer=49, texttype=0))
gilbert_cell.add(gdstk.Label('lon', (-734.4,1263.6), layer=49, texttype=0))
gilbert_cell.add(gdstk.Label('ifp', (-733,1299.6), layer=49, texttype=0))
gilbert_cell.add(gdstk.Label('ifn', (-732.9,1294.2), layer=49, texttype=0))
gilbert_cell.add(gdstk.Label('rfn', (-937.4,1213), layer=49, texttype=0))

lib.write_gds('gilbert_cell.gds')
